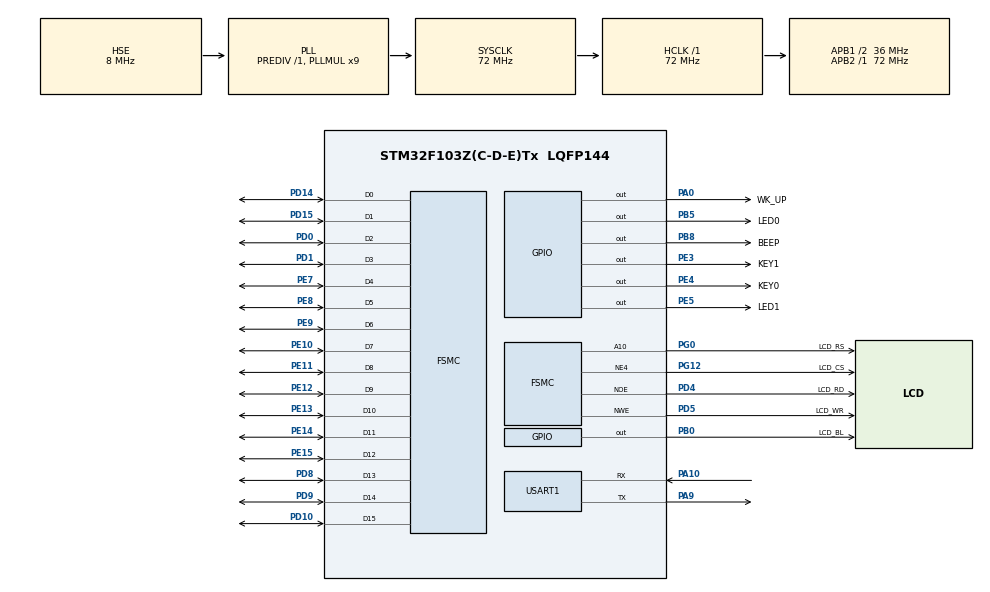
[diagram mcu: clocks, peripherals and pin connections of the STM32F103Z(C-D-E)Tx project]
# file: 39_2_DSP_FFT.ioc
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FSMC.AddressSetupTime1=0
FSMC.BusTurnAroundDuration1=15
FSMC.DataSetupTime1=15
FSMC.ExtendedAddressSetupTime1=0
FSMC.ExtendedDataSetupTime1=1
FSMC.ExtendedMode1=FSMC_EXTENDED_MODE_ENABLE
Mcu.Family=STM32F1
Mcu.Name=STM32F103Z(C-D-E)Tx
Mcu.Package=LQFP144
NVIC.PriorityGroup=NVIC_PRIORITYGROUP_2
NVIC.TIM6_IRQn=true\:2\:1\:true\:false\:true\:true\:true\:true
NVIC.USART1_IRQn=true\:2\:2\:true\:false\:true\:true\:true\:true
OSC_IN.Mode=HSE-External-Oscillator
OSC_IN.Signal=RCC_OSC_IN
OSC_OUT.Mode=HSE-External-Oscillator
OSC_OUT.Signal=RCC_OSC_OUT
PA0-WKUP.GPIO_Label=WK_UP
PA0-WKUP.GPIO_PuPd=GPIO_PULLDOWN
PA0-WKUP.GPIO_Speed=GPIO_SPEED_FREQ_HIGH
PA0-WKUP.PinState=GPIO_PIN_RESET
PA0-WKUP.Signal=GPIO_Output
PA10.Mode=Asynchronous
PA10.Signal=USART1_RX
PA13.Mode=Serial_Wire
PA13.Signal=SYS_JTMS-SWDIO
PA14.Mode=Serial_Wire
PA14.Signal=SYS_JTCK-SWCLK
PA9.Mode=Asynchronous
PA9.Signal=USART1_TX
PB0.GPIO_Label=LCD_BL
PB0.GPIO_PuPd=GPIO_PULLUP
PB0.GPIO_Speed=GPIO_SPEED_FREQ_HIGH
PB0.PinState=GPIO_PIN_SET
PB0.Signal=GPIO_Output
PB5.GPIO_Label=LED0
PB5.GPIO_PuPd=GPIO_PULLUP
PB5.GPIO_Speed=GPIO_SPEED_FREQ_HIGH
PB5.PinState=GPIO_PIN_SET
PB5.Signal=GPIO_Output
PB8.GPIO_Label=BEEP
PB8.GPIO_ModeDefaultOutputPP=GPIO_MODE_OUTPUT_PP
PB8.GPIO_PuPd=GPIO_PULLDOWN
PB8.GPIO_Speed=GPIO_SPEED_FREQ_HIGH
PB8.PinState=GPIO_PIN_RESET
PB8.Signal=GPIO_Output
PC14-OSC32_IN.Mode=LSE-External-Oscillator
PC14-OSC32_IN.Signal=RCC_OSC32_IN
PC15-OSC32_OUT.Mode=LSE-External-Oscillator
PC15-OSC32_OUT.Signal=RCC_OSC32_OUT
PD0.Signal=FSMC_D2_DA2
PD1.Signal=FSMC_D3_DA3
PD10.Signal=FSMC_D15_DA15
PD14.Signal=FSMC_D0_DA0
PD15.Signal=FSMC_D1_DA1
PD4.GPIO_Label=LCD_RD
PD4.Signal=FSMC_NOE
PD5.GPIO_Label=LCD_WR
PD5.Signal=FSMC_NWE
PD8.Signal=FSMC_D13_DA13
PD9.Signal=FSMC_D14_DA14
PE10.Signal=FSMC_D7_DA7
PE11.Signal=FSMC_D8_DA8
PE12.Signal=FSMC_D9_DA9
PE13.Signal=FSMC_D10_DA10
PE14.Signal=FSMC_D11_DA11
PE15.Signal=FSMC_D12_DA12
PE3.GPIO_Label=KEY1
PE3.GPIO_PuPd=GPIO_PULLUP
PE3.GPIO_Speed=GPIO_SPEED_FREQ_HIGH
PE3.PinState=GPIO_PIN_SET
PE3.Signal=GPIO_Output
PE4.GPIO_Label=KEY0
PE4.GPIO_PuPd=GPIO_PULLUP
PE4.GPIO_Speed=GPIO_SPEED_FREQ_HIGH
PE4.PinState=GPIO_PIN_SET
PE4.Signal=GPIO_Output
PE5.GPIO_Label=LED1
PE5.GPIO_PuPd=GPIO_PULLUP
PE5.GPIO_Speed=GPIO_SPEED_FREQ_HIGH
PE5.PinState=GPIO_PIN_SET
PE5.Signal=GPIO_Output
PE7.Signal=FSMC_D4_DA4
PE8.Signal=FSMC_D5_DA5
PE9.Signal=FSMC_D6_DA6
PG0.GPIO_Label=LCD_RS
PG0.Signal=FSMC_A10
PG12.GPIO_Label=LCD_CS
PG12.Mode=NorPsramChipSelect4_1
PG12.Signal=FSMC_NE4
ProjectManager.HeapSize=0x200
ProjectManager.StackSize=0x400
ProjectManager.TargetToolchain=STM32CubeIDE
RCC.AHBFreq_Value=72000000
RCC.APB1CLKDivider=RCC_HCLK_DIV2
RCC.APB1Freq_Value=36000000
RCC.APB1TimFreq_Value=72000000
RCC.APB2Freq_Value=72000000
RCC.APB2TimFreq_Value=72000000
RCC.HCLKFreq_Value=72000000
RCC.PLLMUL=RCC_PLL_MUL9
RCC.PLLSourceVirtual=RCC_PLLSOURCE_HSE
RCC.SYSCLKFreq_VALUE=72000000
RCC.SYSCLKSource=RCC_SYSCLKSOURCE_PLLCLK
RCC.USBFreq_Value=72000000
SH.FSMC_A10.0=FSMC_A10,A10_1
SH.FSMC_D0_DA0.0=FSMC_D0,16b-d1
SH.FSMC_D10_DA10.0=FSMC_D10,16b-d1
SH.FSMC_D11_DA11.0=FSMC_D11,16b-d1
SH.FSMC_D12_DA12.0=FSMC_D12,16b-d1
SH.FSMC_D13_DA13.0=FSMC_D13,16b-d1
SH.FSMC_D14_DA14.0=FSMC_D14,16b-d1
SH.FSMC_D15_DA15.0=FSMC_D15,16b-d1
SH.FSMC_D1_DA1.0=FSMC_D1,16b-d1
SH.FSMC_D2_DA2.0=FSMC_D2,16b-d1
SH.FSMC_D3_DA3.0=FSMC_D3,16b-d1
SH.FSMC_D4_DA4.0=FSMC_D4,16b-d1
SH.FSMC_D5_DA5.0=FSMC_D5,16b-d1
SH.FSMC_D6_DA6.0=FSMC_D6,16b-d1
SH.FSMC_D7_DA7.0=FSMC_D7,16b-d1
SH.FSMC_D8_DA8.0=FSMC_D8,16b-d1
SH.FSMC_D9_DA9.0=FSMC_D9,16b-d1
SH.FSMC_NOE.0=FSMC_NOE,Lcd1
SH.FSMC_NWE.0=FSMC_NWE,Lcd1
TIM6.AutoReloadPreload=TIM_AUTORELOAD_PRELOAD_ENABLE
TIM6.Prescaler=7200 - 1
USART1.VirtualMode=VM_ASYNC
VP_TIM6_VS_ClockSourceINT.Mode=Enable_Timer
board=custom

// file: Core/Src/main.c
/* USER CODE BEGIN Header */
/**
 ****************************************************************************************************
 * @file        main.c
 * @author      正点原子团队(ALIENTEK)
 * @version     V1.0
 * @date        2024-01-01
 * @brief       DSP FFT 实验
 * @license     Copyright (c) 2020-2032, 广州市星翼电子科技有限公司
 ****************************************************************************************************
 * @attention
 *
 * 实验平台:正点原子 STM32F103开发板
 * 在线视频:www.yuanzige.com
 * 技术论坛:www.openedv.com
 * 公司网址:www.alientek.com
 * 购买地址:openedv.taobao.com
 *
 ****************************************************************************************************
 */
/* USER CODE END Header */
#include "main.h"
#include "tim.h"
#include "usart.h"
#include "gpio.h"
#include "fsmc.h"

/* USER CODE BEGIN Includes */
#include "../../BSP/LED/led.h"
#include "../../BSP/KEY/key.h"
#include "../../BSP/LCD/lcd.h"
#include "../../SYSTEM/delay/delay.h"
#include "arm_math.h"
/* USER CODE END Includes */

/* USER CODE BEGIN PTD */
/* FFT长度，默认是1024点FFT
 * 可选范围为: 16, 64, 256, 1024.
 */
#define FFT_LENGTH      1024
float fft_inputbuf[FFT_LENGTH * 2];     /* FFT输入数组 */
float fft_outputbuf[FFT_LENGTH];        /* FFT输出数组 */

uint8_t g_timeout;
/* USER CODE END PTD */

void SystemClock_Config(void);

int main(void)
{
  /* USER CODE BEGIN 1 */
    float time;
    char buf[50];
    arm_cfft_radix4_instance_f32 scfft;
    uint8_t key, t = 0;
    uint16_t i;
  /* USER CODE END 1 */

  /* MCU Configuration--------------------------------------------------------*/

  /* Reset of all peripherals, Initializes the Flash interface and the Systick. */
  HAL_Init();

  /* Configure the system clock */
  SystemClock_Config();

  /* USER CODE BEGIN SysInit */
  delay_init(72);						   /* 初始化延时函数 */
  /* USER CODE END SysInit */

  /* Initialize all configured peripherals */
  MX_GPIO_Init();
  MX_FSMC_Init();
  MX_USART1_UART_Init();
  MX_TIM6_Init();
  /* USER CODE BEGIN 2 */
  lcd_init();                                         /* 初始化LCD */
  lcd_show_string(30, 50, 200, 16, 16, "STM32", RED);
  lcd_show_string(30, 70, 200, 16, 16, "DSP FFT TEST", RED);
  lcd_show_string(30, 90, 200, 16, 16, "ATOM@ALIENTEK", RED);
  lcd_show_string(30, 110, 200, 16, 16, "KEY0:Run FFT", RED); /* 显示提示信息 */
  lcd_show_string(30, 140, 200, 16, 16, "FFT runtime:", RED); /* 显示提示信息 */

  arm_cfft_radix4_init_f32(&scfft, FFT_LENGTH, 0, 1); /* 初始化scfft结构体，设定FFT相关参数 */
  /* USER CODE END 2 */

  /* Infinite loop */
  /* USER CODE BEGIN WHILE */
  while (1)
  {
	  key = key_scan(0);

	  if (key == KEY0_PRES)
	  {
		  for (i = 0; i < FFT_LENGTH; i++)	/* 生成信号序列 */
		  {
			  fft_inputbuf[2 * i] = 100 +
									10 * arm_sin_f32(2 * PI * i / FFT_LENGTH) +
									30 * arm_sin_f32(2 * PI * i * 4 / FFT_LENGTH) +
									50 * arm_cos_f32(2 * PI * i * 8 / FFT_LENGTH);    /* 生成输入信号实部 */
			  fft_inputbuf[2 * i + 1] = 0; 	/* 虚部全部为0 */
		  }

		  TIM6->CNT = 0; 			/* 重设TIM6定时器的计数器值 */
		  g_timeout = 0;

		  arm_cfft_radix4_f32(&scfft, fft_inputbuf);                      /* FFT计算（基4） */

		  time = TIM6->CNT + (uint32_t)g_timeout * 65536;        	      /* 计算所用时间 */
		  sprintf((char *)buf, "%0.3fms\r\n", time / 10);
		  lcd_show_string(30 + 12 * 8, 140, 100, 16, 16, buf, BLUE);      /* 显示运行时间 */

		  arm_cmplx_mag_f32(fft_inputbuf, fft_outputbuf, FFT_LENGTH);     /* 把运算结果复数求模得幅值 */

		  printf("\r\n%d point FFT runtime:%0.3fms\r\n", FFT_LENGTH, time / 1000);
		  printf("FFT Result:\r\n");

		  for (i = 0; i < FFT_LENGTH; i++)
		  {
			  printf("fft_outputbuf[%d]:%f\r\n", i, fft_outputbuf[i]);
		  }
	  }
	  else
	  {
		  delay_ms(10);
	  }

	  t++;

	  if ((t % 20) == 0)
	  {
		  LED0_TOGGLE();
	  }

    /* USER CODE END WHILE */

  }
}

void SystemClock_Config(void)
{
  RCC_OscInitTypeDef RCC_OscInitStruct = {0};
  RCC_ClkInitTypeDef RCC_ClkInitStruct = {0};

  /** Initializes the RCC Oscillators according to the specified parameters
  * in the RCC_OscInitTypeDef structure.
  */
  RCC_OscInitStruct.OscillatorType = RCC_OSCILLATORTYPE_HSE;
  RCC_OscInitStruct.HSEState = RCC_HSE_ON;
  RCC_OscInitStruct.HSEPredivValue = RCC_HSE_PREDIV_DIV1;
  RCC_OscInitStruct.HSIState = RCC_HSI_ON;
  RCC_OscInitStruct.PLL.PLLState = RCC_PLL_ON;
  RCC_OscInitStruct.PLL.PLLSource = RCC_PLLSOURCE_HSE;
  RCC_OscInitStruct.PLL.PLLMUL = RCC_PLL_MUL9;
  if (HAL_RCC_OscConfig(&RCC_OscInitStruct) != HAL_OK)
  {
    Error_Handler();
  }

  /** Initializes the CPU, AHB and APB buses clocks
  */
  RCC_ClkInitStruct.ClockType = RCC_CLOCKTYPE_HCLK|RCC_CLOCKTYPE_SYSCLK
                              |RCC_CLOCKTYPE_PCLK1|RCC_CLOCKTYPE_PCLK2;
  RCC_ClkInitStruct.SYSCLKSource = RCC_SYSCLKSOURCE_PLLCLK;
  RCC_ClkInitStruct.AHBCLKDivider = RCC_SYSCLK_DIV1;
  RCC_ClkInitStruct.APB1CLKDivider = RCC_HCLK_DIV2;
  RCC_ClkInitStruct.APB2CLKDivider = RCC_HCLK_DIV1;

  if (HAL_RCC_ClockConfig(&RCC_ClkInitStruct, FLASH_LATENCY_2) != HAL_OK)
  {
    Error_Handler();
  }
}

void Error_Handler(void)
{
  __disable_irq();
  while (1)
  {
  }
}
